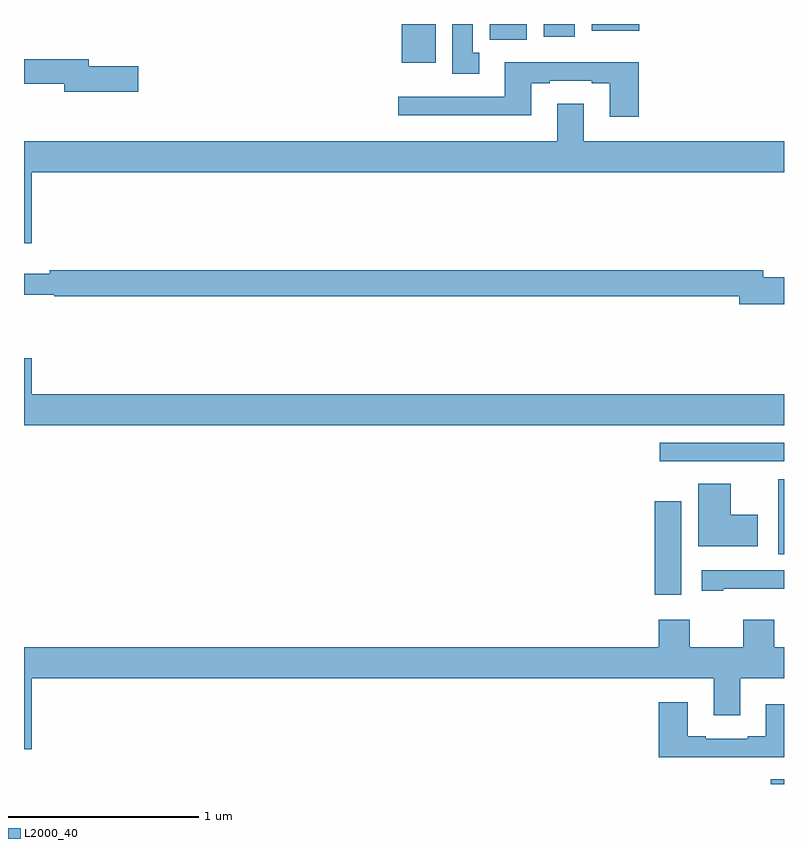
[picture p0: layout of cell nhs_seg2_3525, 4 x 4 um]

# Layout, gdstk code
import gdstk
lib = gdstk.Library(unit=1e-6, precision=1e-09)
def R(c, l, rs):  # rectangles x0, y0, x1, y1
    for r in rs: c.add(gdstk.rectangle(r[:2], r[2:], *l))
def P(c, l, *ps):  # polygons
    for p in ps: c.add(gdstk.Polygon(p, *l))
L2000_40 = (2000, 40)

nhs_seg2_3525 = lib.new_cell('nhs_seg2_3525')
R(nhs_seg2_3525, L2000_40, [(300.929,593.8,301,593.824), (300.32,594.795,300.46,595.288), (300.971,595.009,301,595.405), (300.345,595.5,301,595.596), (298.988,597.596,299.167,597.8), (299.45,597.716,299.647,597.8), (299.735,597.734,299.899,597.8), (299.987,597.764,300.238,597.8)])
P(nhs_seg2_3525, L2000_40, [(299.395,597.65),(299.362,597.65),(299.362,597.8),(299.255,597.8),(299.255,597.537),(299.395,597.537)],
  [(297.601,597.578),(297.34,597.578),(297.34,597.614),(297,597.614),(297,597.486),(297.212,597.486),(297.212,597.443),(297.601,597.443)],
  [(300.236,597.598),(299.531,597.598),(299.531,597.417),(298.971,597.417),(298.971,597.32),(299.671,597.32),(299.671,597.489),(299.767,597.489),(299.767,597.501),(299.987,597.501),(299.987,597.489),(300.083,597.489),(300.083,597.312),(300.236,597.312)],
  [(297.04,597.02),(301,597.02),(301,597.184),(299.947,597.184),(299.947,597.379),(299.807,597.379),(299.807,597.184),(297,597.184),(297,596.646),(297.04,596.646)],
  [(301,596.468),(300.892,596.468),(300.892,596.504),(297.136,596.504),(297.136,596.485),(297,596.485),(297,596.376),(297.158,596.376),(297.158,596.368),(300.764,596.368),(300.764,596.326),(301,596.326)],
  [(301,595.852),(297.04,595.852),(297.04,596.041),(297,596.041),(297,595.688),(301,595.688)],
  [(300.862,595.216),(300.721,595.216),(300.721,595.381),(300.548,595.381),(300.548,595.052),(300.862,595.052)],
  [(300.679,594.827),(301,594.827),(301,594.924),(300.567,594.924),(300.567,594.816),(300.679,594.816)],
  [(297.04,594.356),(300.629,594.356),(300.629,594.162),(300.769,594.162),(300.769,594.356),(301,594.356),(301,594.52),(300.949,594.52),(300.949,594.664),(300.785,594.664),(300.785,594.52),(300.505,594.52),(300.505,594.664),(300.341,594.664),(300.341,594.52),(297,594.52),(297,593.982),(297.04,593.982)],
  [(301,594.22),(300.905,594.22),(300.905,594.052),(300.809,594.052),(300.809,594.039),(300.589,594.039),(300.589,594.052),(300.493,594.052),(300.493,594.229),(300.341,594.229),(300.341,593.942),(301,593.942)])

lib.write_gds('nhs_seg2_3525.gds')
